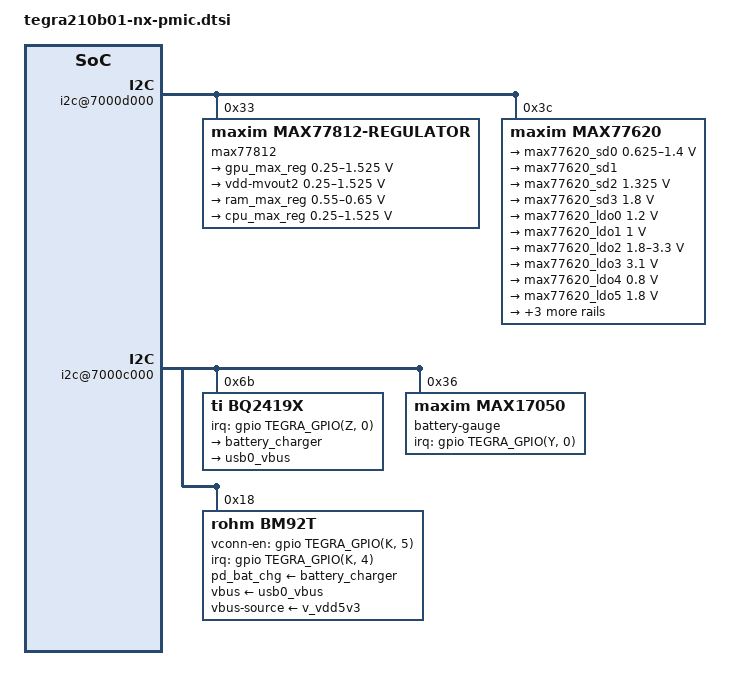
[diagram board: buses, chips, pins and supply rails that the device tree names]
/*
 * Copyright (c) 2022-2023, CTCaer <ctcaer@gmail.com>
 *
 * This program is free software; you can redistribute it and/or modify
 * it under the terms of the GNU General Public License as published by
 * the Free Software Foundation; version 2 of the License.
 *
 * This program is distributed in the hope that it will be useful, but WITHOUT
 * ANY WARRANTY; without even the implied warranty of MERCHANTABILITY or
 * FITNESS FOR A PARTICULAR PURPOSE.  See the GNU General Public License for
 * more details.
 *
 */

#include <dt-bindings/mfd/max77620.h>
#include <dt-bindings/regulator/regulator.h>
#include <dt-bindings/gpio/tegra-gpio.h>
#include <dt-bindings/thermal/thermal.h>
#include <dt-bindings/interrupt-controller/irq.h>
#include <dt-bindings/soc/tegra-pmc.h>

/ {
	i2c@7000d000 {
		nvidia,bit-bang-after-shutdown;

		max77812: max77812@33 {
			compatible = "maxim,max77812-regulator";
			reg = <0x33>;
			maxim,soft-start-slew-rate = <5000>;
			maxim,shutdown-slew-rate = <5000>;
			maxim,ramp-up-slew-rate = <5000>;
			maxim,ramp-down-slew-rate = <5000>;
			status = "okay";

			/* interrupt-parent = <&gpio>; */
			/* interrupts = <TEGRA_GPIO(K, 6) IRQ_TYPE_NONE>; */

			regulators {
				gpu_max_reg: m1vout {
					regulator-name = "vdd-gpu";
					regulator-min-microvolt = <250000>;
					regulator-max-microvolt = <1525000>;
					regulator-init-microvolt = <800000>;
					regulator-ramp-delay = <5000>;
					regulator-enable-ramp-delay = <5000>;
					regulator-disable-ramp-delay = <5000>;
					maxim,peak-current-limit-ua = <7200000>;
				};

				m2vout {
					regulator-name = "vdd-mvout2";
					regulator-min-microvolt = <250000>;
					regulator-max-microvolt = <1525000>;
					regulator-ramp-delay = <5000>;
					regulator-enable-ramp-delay = <5000>;
					regulator-disable-ramp-delay = <5000>;
					maxim,peak-current-limit-ua = <7200000>;
				};

				ram_max_reg: m3vout {
					status = "okay";
					regulator-name = "vddio-ddr";
					regulator-min-microvolt = <550000>; /* Set min lpddr4x normally allowed */
					regulator-max-microvolt = <650000>; /* Set max lpddr4x normally allowed */
					regulator-always-on;
					regulator-boot-on;
					/* regulator-init-microvolt = <600000>; */ /* Controlled by bootloader */
					regulator-ramp-delay = <5000>;
					regulator-enable-ramp-delay = <5000>;
					regulator-disable-ramp-delay = <5000>;
					maxim,peak-current-limit-ua = <7200000>;
				};

				cpu_max_reg: m4vout {
					regulator-name = "vdd-cpu";
					regulator-min-microvolt = <250000>;
					regulator-max-microvolt = <1525000>;
					regulator-always-on;
					regulator-boot-on;
					regulator-init-microvolt = <1000000>;
					regulator-ramp-delay = <5000>;
					regulator-enable-ramp-delay = <5000>;
					regulator-disable-ramp-delay = <5000>;
					maxim,peak-current-limit-ua = <7200000>;
				};
			};
		};

		lpddr4_lv: fan53528@52 {
			compatible = "fcs,fan53528";
			reg = <0x52>;
			status = "disabled";
			regulator-name = "vddio-ddr";
			regulator-min-microvolt = <350000>;
			regulator-max-microvolt = <1143750>;
			regulator-always-on;
			regulator-boot-on;
			/* regulator-init-microvolt = <600000>; */ /* Controlled by bootloader */
			regulator-initial-mode = <REGULATOR_MODE_FAST>;
			fcs,suspend-voltage-selector = <1>;
		};

		max77620: max77620@3c {
			compatible = "maxim,max77620";
			reg = <0x3c>;
			interrupts = <GIC_SPI 86 IRQ_TYPE_NONE>; /* PMU_EXT */
			nvidia,pmc-wakeup = <&tegra_pmc
				PMC_WAKE_TYPE_EVENT 51 PMC_TRIGGER_TYPE_LOW>; /* pwr_int_n_IB */

			#interrupt-cells = <2>;
			interrupt-controller;

			gpio-controller;
			#gpio-cells = <2>;

			maxim,enable-clock32k-out;

			maxim,system-pmic-power-off;

			maxim,hard-power-off-time = <12>;

			maxim,avoid-rtc-bulk-register-write;

			maxim,hot-die-threshold-temp = <110000>;
			#thermal-sensor-cells = <0>;

			pinctrl-names = "default";
			pinctrl-0 = <&max77620_default>;

			max77620_default: pinmux@0 {
				pin_gpio0 {
					pins = "gpio0";
					function = "gpio";
				};

				/* max77812 chip enable */
				pin_gpio1 {
					pins = "gpio1";
					function = "fps-out";
					drive-open-drain = <1>;
					maxim,active-fps-source = <MAX77620_FPS_SRC_0>;
					maxim,active-fps-power-up-slot = <5>;
					maxim,active-fps-power-down-slot = <0>;
				};

				/* max77812 vio and force m3vout force */
				pin_gpio2 {
					pins = "gpio2";
					function = "fps-out";
					drive-open-drain = <1>;
					maxim,active-fps-source = <MAX77620_FPS_SRC_0>;
					maxim,active-fps-power-up-slot = <6>;
					maxim,active-fps-power-down-slot = <0>;
				};

				/* vdd_3v3 */
				pin_gpio3 {
					pins = "gpio3";
					function = "fps-out";
					drive-open-drain = <1>;
					maxim,active-fps-source = <MAX77620_FPS_SRC_0>;
					maxim,active-fps-power-up-slot = <3>;
					maxim,active-fps-power-down-slot = <0>;
				};

				pin_gpio4 {
					pins = "gpio4";
					function = "32k-out1";
				};

				pin_gpio5_6_7 {
					pins = "gpio5", "gpio6", "gpio7";
					function = "gpio";
					drive-open-drain = <1>;
				};
			};

			watchdog {
				maxim,wdt-boot-timeout = <16>;
				maxim,wdt-clear-time = <13>;
				status = "disabled";
				dt-override-status-odm-data = <0x00020000 0x00020000>;
			};

			fps {
				#address-cells = <1>;
				#size-cells = <0>;
				fps0 {
					reg = <0>;
					maxim,shutdown-fps-time-period-us = <5120>;
					maxim,fps-event-source = <MAX77620_FPS_EVENT_SRC_EN0>;
				};

				fps1 {
					reg = <1>;
					maxim,shutdown-fps-time-period-us = <5120>;
					maxim,fps-event-source = <MAX77620_FPS_EVENT_SRC_EN1>;
					maxim,device-state-on-disabled-event = <MAX77620_FPS_INACTIVE_STATE_SLEEP>;
				};

				fps2 {
					reg = <2>;
					maxim,shutdown-fps-time-period-us = <5120>;
					maxim,fps-event-source = <MAX77620_FPS_EVENT_SRC_EN0>;
				};
			};

			regulators {
				in-ldo0-1-supply = <&max77620_sd2>;
				in-ldo7-8-supply = <&max77620_sd2>;

				max77620_sd0: sd0 {
					regulator-name = "vdd-core";
					regulator-min-microvolt = <625000>;
					regulator-max-microvolt = <1400000>;
					regulator-boot-on;
					regulator-always-on;
					maxim,active-fps-source = <MAX77620_FPS_SRC_1>;
					maxim,active-fps-power-up-slot = <1>;
					maxim,active-fps-power-down-slot = <7>;
					regulator-initial-mode = <REGULATOR_MODE_NORMAL>;
					regulator-enable-ramp-delay = <50>;
					regulator-disable-ramp-delay = <4080>;
					maxim,ramp-rate-setting = <27500>;
					regulator-ramp-delay = <27500>;
				};

				max77620_sd1: sd1 {
					regulator-name = "vdd-ddr";
					/* regulator-min-microvolt = <1100000>; */
					/* regulator-max-microvolt = <1100000>; */
					regulator-always-on;
					regulator-boot-on;
					/* regulator-init-microvolt = <1100000>; */ /* Controlled by bootloader */
					regulator-initial-mode = <REGULATOR_MODE_NORMAL>;
					maxim,active-fps-source = <MAX77620_FPS_SRC_0>;
					maxim,active-fps-power-up-slot = <5>;
					maxim,active-fps-power-down-slot = <2>;
					regulator-enable-ramp-delay = <60>;
					regulator-disable-ramp-delay = <145800>;
					maxim,ramp-rate-setting = <27500>;
					regulator-ramp-delay = <27500>;
				};

				max77620_sd2: sd2 {
					regulator-name = "vdd-pre-reg";
					regulator-min-microvolt = <1325000>;
					regulator-max-microvolt = <1325000>;
					regulator-always-on;
					regulator-boot-on;
					maxim,active-fps-source = <MAX77620_FPS_SRC_NONE>;
					maxim,active-fps-power-up-slot = <0>;
					maxim,active-fps-power-down-slot = <0>;
					regulator-enable-ramp-delay = <40>;
					regulator-disable-ramp-delay = <20000>;
					maxim,ramp-rate-setting = <27500>;
					regulator-ramp-delay = <27500>;
				};

				max77620_sd3: sd3 {
					regulator-name = "vdd-1v8";
					regulator-min-microvolt = <1800000>;
					regulator-max-microvolt = <1800000>;
					regulator-always-on;
					regulator-boot-on;
					maxim,active-fps-source = <MAX77620_FPS_SRC_0>;
					maxim,active-fps-power-up-slot = <2>;
					maxim,active-fps-power-down-slot = <4>;
					regulator-initial-mode = <REGULATOR_MODE_NORMAL>;
					regulator-enable-ramp-delay = <50>;
					regulator-disable-ramp-delay = <118000>;
					maxim,ramp-rate-setting = <27500>;
					regulator-ramp-delay = <27500>;
				};

				/* Display Panel */
				max77620_ldo0: ldo0 {
					regulator-name = "avdd-sys";
					regulator-min-microvolt = <1200000>;
					regulator-max-microvolt = <1200000>;
					regulator-boot-on; /* Must be set for seamless display */
					maxim,active-fps-source = <MAX77620_FPS_SRC_NONE>;
					maxim,active-fps-power-up-slot = <0>;
					maxim,active-fps-power-down-slot = <0>;
					regulator-enable-ramp-delay = <50>;
					regulator-disable-ramp-delay = <4000>;
					maxim,ramp-rate-setting = <50000>;
					regulator-ramp-delay = <50000>;
				};

				/* XUSB, PCIE */
				max77620_ldo1: ldo1 {
					regulator-name = "vdd-pex";
					regulator-min-microvolt = <1000000>;
					regulator-max-microvolt = <1000000>;
					maxim,active-fps-source = <MAX77620_FPS_SRC_NONE>;
					maxim,active-fps-power-up-slot = <0>;
					maxim,active-fps-power-down-slot = <0>;
					regulator-enable-ramp-delay = <50>;
					regulator-disable-ramp-delay = <7000>;
					maxim,ramp-rate-setting = <50000>;
					regulator-ramp-delay = <50000>;
				};

				/* SD Card (SDMMC1) */
				max77620_ldo2: ldo2 {
					regulator-name = "vddio-sdmmc1";
					regulator-min-microvolt = <1800000>;
					regulator-max-microvolt = <3300000>;
					maxim,active-fps-source = <MAX77620_FPS_SRC_NONE>;
					maxim,active-fps-power-up-slot = <0>;
					maxim,active-fps-power-down-slot = <0>;
					regulator-enable-ramp-delay = <100>;
					regulator-disable-ramp-delay = <6000>;
					maxim,ramp-rate-setting = <50000>;
					regulator-ramp-delay = <50000>;
				};

				/* GC Card Vdd */
				max77620_ldo3: ldo3 {
					regulator-name = "vdd-gc-3v1";
					regulator-min-microvolt = <3100000>;
					regulator-max-microvolt = <3100000>;
					maxim,active-fps-source = <MAX77620_FPS_SRC_NONE>;
					maxim,active-fps-power-up-slot = <0>;
					maxim,active-fps-power-down-slot = <0>;
					regulator-enable-ramp-delay = <100>;
					regulator-disable-ramp-delay = <3000>;
					maxim,ramp-rate-setting = <50000>;
					regulator-ramp-delay = <50000>;
				};

				/* RTC domain. Always On */
				max77620_ldo4: ldo4 {
					regulator-name = "vdd-rtc";
					regulator-min-microvolt = <800000>;
					regulator-max-microvolt = <800000>;
					regulator-always-on;
					regulator-boot-on;
					maxim,active-fps-power-up-slot = <0>;
					maxim,active-fps-power-down-slot = <7>;
					maxim,active-fps-source = <MAX77620_FPS_SRC_0>;
					regulator-enable-ramp-delay = <50>;
					regulator-disable-ramp-delay = <610>;
					maxim,ramp-rate-setting = <50000>;
					regulator-ramp-delay = <50000>;
				};

				/* GC Card Vddio */
				max77620_ldo5: ldo5 {
					regulator-name = "vdd-gc-1v8";
					regulator-min-microvolt = <1800000>;
					regulator-max-microvolt = <1800000>;
					maxim,active-fps-source = <MAX77620_FPS_SRC_NONE>;
					maxim,active-fps-power-up-slot = <0>;
					maxim,active-fps-power-down-slot = <0>;
					regulator-enable-ramp-delay = <70>;
					regulator-disable-ramp-delay = <3000>;
					maxim,ramp-rate-setting = <50000>;
					regulator-ramp-delay = <50000>;
				};

				/* Touch Panel, ALS */
				max77620_ldo6: ldo6 {
					regulator-name = "vdd-tp-2v9";
					regulator-min-microvolt = <2900000>;
					regulator-max-microvolt = <2900000>;
					regulator-boot-on; /* Decrease por time for Touch Panel. */
					maxim,active-fps-source = <MAX77620_FPS_SRC_NONE>;
					maxim,active-fps-power-up-slot = <0>;
					maxim,active-fps-power-down-slot = <0>;
					regulator-enable-ramp-delay = <100>;
					regulator-disable-ramp-delay = <3000>;
					maxim,ramp-rate-setting = <50000>;
					regulator-ramp-delay = <50000>;
				};

				/* Not used on T210B01 */
				max77620_ldo7: ldo7 {
					regulator-name = "vdd-gen-pll-edp";
					regulator-min-microvolt = <1000000>;
					regulator-max-microvolt = <1000000>; /* 3100000 */
					maxim,active-fps-source = <MAX77620_FPS_SRC_NONE>;
					maxim,active-fps-power-up-slot = <0>;
					maxim,active-fps-power-down-slot = <0>;
					regulator-enable-ramp-delay = <50>;
					regulator-disable-ramp-delay = <2768>;
					maxim,ramp-rate-setting = <50000>;
					regulator-ramp-delay = <50000>;
				};

				/* Hdmi, DP, Sio */
				max77620_ldo8: ldo8 {
					regulator-name = "vdd-hdmi-dp";
					regulator-min-microvolt = <1000000>;
					regulator-max-microvolt = <1000000>;
					maxim,active-fps-source = <MAX77620_FPS_SRC_NONE>;
					maxim,active-fps-power-up-slot = <0>;
					maxim,active-fps-power-down-slot = <0>;
					regulator-enable-ramp-delay = <50>;
					regulator-disable-ramp-delay = <4000>;
					maxim,ramp-rate-setting = <50000>;
					regulator-ramp-delay = <50000>;
				};
			};

			onoff {
				maxim,onoff-keycode = <KEY_SLEEP>;
			};
		};

		max77801: max77801@18 {
			compatible = "maxim,max77801-regulator";
			reg = <0x18>;
			status = "disabled";
			regulator-name = "vdd-3v3-periph";
			regulator-min-microvolt = <3300000>;
			regulator-max-microvolt = <3400000>;
			regulator-initial-mode = <REGULATOR_MODE_FAST>;
			regulator-boot-on;
			regulator-always-on;
			maxim,dvs-high-microvolt = <3400000>;

			regulator-state-mem {
				regulator-on-in-suspend;
				regulator-mode = <REGULATOR_MODE_NORMAL>;
			};
		};
	};

	i2c@7000c000 {
		bq2419x: battery-charger@6b {
			compatible = "ti,bq2419x";
			reg = <0x6b>;

			interrupt-parent = <&gpio>;
			interrupts = <TEGRA_GPIO(Z, 0) IRQ_TYPE_NONE>;
			#extcon-cells = <1>;

			/* nvidia,pmc-wakeup = <&tegra_pmc
				PMC_WAKE_TYPE_EVENT 34 PMC_TRIGGER_TYPE_LOW>; */ /* gpio_pz0_IB */

			#thermal-sensor-cells = <0>;

			battery_charger: charger {
				status = "okay";
				dt-override-status-odm-data = <0x00C00000 0x00400000>;
				regulator-name = "batt_regulator";
				regulator-max-microamp = <4500000>;
				ti,chg-dis-gpio = <&gpio TEGRA_GPIO(S, 6) GPIO_ACTIVE_HIGH>;
				ti,ir-comp-voltage-millivolt = <1>;
				ti,ir-comp-resister-ohm = <1>;
				ti,input-voltage-limit-millivolt = <4360>;
				ti,sys-input-voltage-limit-millivolt = <3000>;
				ti,thermal-regulation-threshold-degc = <120>;
				ti,pre-charge-current-limit-milliamp = <128>;
				ti,charge-term-current-limit-milliamp = <128>;
				ti,charge-voltage-limit-millivolt = <4208>;     /* 4000 up to 23% for Frig. */
				ti,fast-charge-current-limit-milliamp = <2048>; /* 3072 up to 23% for Frig. */
				ti,temp-range = <3 16 50 59>;
				ti,charge-thermal-voltage-limit = <4208 4208 4208 3952>;
				ti,charge-current-limit = <512 768 2048 2048>;
				ti,thermal-zone = "battery";
				ti,temp-polling-time-sec = <20>;
				ti,pre-to-fast-charge-voltage-millivolt = <3000>;
				ti,enable-full-plug-detection;
				/* ti,disable-suspend-on-charging; */
				ti,watchdog-timeout = <0>; /* Disable OTG/Charging Watchdog */
				ti,no-otg-watchdog;
			};

			usb0_vbus: vbus {
				regulator-name = "vbus_regulator";
			};
		};

		battery-gauge@36 {
			compatible = "maxim,max17050";
			reg = <0x36>;

			interrupt-parent = <&gpio>;
			interrupts = <TEGRA_GPIO(Y, 0) IRQ_TYPE_NONE>;

			nvidia,pmc-wakeup = <&tegra_pmc
				PMC_WAKE_TYPE_EVENT 27 PMC_TRIGGER_TYPE_LOW>; /* button_slide_sw_IB */

			#thermal-sensor-cells = <0>;
			status = "okay";
			dt-override-status-odm-data = <0x00C00000 0x00400000>;
			maxim,volt-alrt-threshold = <0xff00>;
			maxim,temp-alrt-threshold = <0x7f80>;
			maxim,soc-alrt-threshold = <0xff00>;
			/* Actual is 5000 but driver does not account for CGAIN */
			/* And does not take into account Rsense and CGAIN for capacity */
			maxim,rsns-microohm = <10000>;
			maxim,over-heat-temp = <600>;
			maxim,dead-volt = <3000>;
			maxim,over-volt = <4208>; /* Actual: 4258 mV */
			maxim,is-battery-present;
		};

		bm92t: bm92t@18 {
			compatible = "rohm,bm92t";
			reg = <0x18>;
			interrupt-parent = <&gpio>;
			interrupts = <TEGRA_GPIO(K, 4) IRQ_TYPE_EDGE_RISING>;
			#extcon-cells = <1>;
			pd_bat_chg-supply = <&battery_charger>;
			vbus-supply = <&usb0_vbus>;
			vbus-source-supply = <&v_vdd5v3>;
			rohm,vconn-en-gpio = <&gpio TEGRA_GPIO(K, 5) GPIO_ACTIVE_HIGH>;

			nvidia,pmc-wakeup = <&tegra_pmc
				PMC_WAKE_TYPE_EVENT 14 PMC_TRIGGER_TYPE_LOW>; /* gpio_pk4_IB */

			rohm,dp-lanes = <2>;
			rohm,dp-signal-toggle-on-resume;
			rohm,pd-5v-current-limit-ma = <2000>;
			rohm,pd-9v-current-limit-ma = <2000>;
			rohm,pd-12v-current-limit-ma = <1500>;
			rohm,pd-15v-current-limit-ma = <1200>;
		};
	};

	dummy_cool_dev: dummy-cool-dev {
		compatible = "dummy-cooling-dev";
		#cooling-cells = <2>; /* min followed by max */
	};

	thermal-zones {
		PMIC-Die {
			polling-delay = <0>; /* milliseconds */
			polling-delay-passive = <0>; /* milliseconds */

			thermal-sensors = <&max77620>;
			trips {
				die_temp_thresh: hot-die {
					temperature = <120000>;
					type = "active";
					hysteresis = <0>;
				};
			};

			cooling-maps {
				map0 {
					trip = <&die_temp_thresh>;
					cooling-device = <&dummy_cool_dev THERMAL_NO_LIMIT
								THERMAL_NO_LIMIT>;
					contribution = <100>;
					cdev-type = "emergency-balanced";
				};
			};
		};

		Charger-Die {
			status = "okay";
			polling-delay = <0>; /* milliseconds */
			polling-delay-passive = <0>; /* milliseconds */

			thermal-sensors = <&bq2419x>;
			trips {
				die_temp_thresh_chg: hot-die {
					temperature = <120000>;
					type = "active";
					hysteresis = <0>;
				};
			};

			cooling-maps {
				map0 {
					trip = <&die_temp_thresh_chg>;
					cooling-device = <&dummy_cool_dev THERMAL_NO_LIMIT
								THERMAL_NO_LIMIT>;
					contribution = <100>;
					cdev-type = "emergency-balanced";
				};
			};
		};
	};

	extcon {
		compatible = "simple-bus";
		device_type = "external-connection";
		#address-cells = <1>;
		#size-cells = <0>;
	};

};
